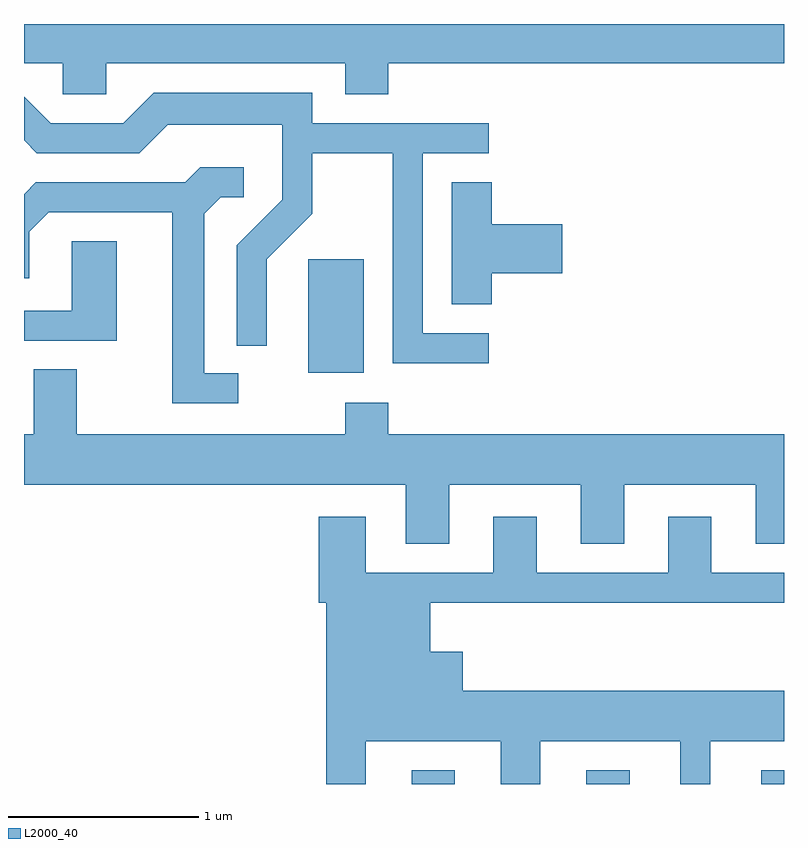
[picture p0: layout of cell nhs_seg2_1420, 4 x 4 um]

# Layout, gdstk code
import gdstk
lib = gdstk.Library(unit=1e-6, precision=1e-09)
def R(c, l, rs):  # rectangles x0, y0, x1, y1
    for r in rs: c.add(gdstk.rectangle(r[:2], r[2:], *l))
def P(c, l, *ps):  # polygons
    for p in ps: c.add(gdstk.Polygon(p, *l))
L2000_40 = (2000, 40)

nhs_seg2_1420 = lib.new_cell('nhs_seg2_1420')
R(nhs_seg2_1420, L2000_40, [(227.651,1097.802,227.879,1097.874), (228.571,1097.802,228.799,1097.874), (229.491,1097.802,229.611,1097.874), (227.106,1099.966,227.399,1100.564)])
P(nhs_seg2_1420, L2000_40, [(226.044,1101.596),(227.301,1101.596),(227.301,1101.431),(227.529,1101.431),(227.529,1101.596),(229.611,1101.596),(229.611,1101.802),(225.611,1101.802),(225.611,1101.596),(225.816,1101.596),(225.816,1101.431),(226.044,1101.431)],
  [(228.058,1100.174),(227.709,1100.174),(227.709,1101.121),(228.058,1101.121),(228.058,1101.279),(227.129,1101.279),(227.129,1101.439),(226.294,1101.439),(226.134,1101.279),(225.752,1101.279),(225.611,1101.42),(225.611,1101.189),(225.679,1101.121),(226.217,1101.121),(226.367,1101.271),(226.971,1101.271),(226.971,1100.877),(226.731,1100.637),(226.731,1100.108),(226.889,1100.108),(226.889,1100.564),(227.129,1100.804),(227.129,1101.121),(227.551,1101.121),(227.551,1100.016),(228.058,1100.016)],
  [(226.738,1099.964),(226.559,1099.964),(226.559,1100.804),(226.647,1100.891),(226.768,1100.891),(226.768,1101.049),(226.539,1101.049),(226.459,1100.969),(225.674,1100.969),(225.611,1100.906),(225.611,1100.463),(225.639,1100.463),(225.639,1100.709),(225.742,1100.811),(226.391,1100.811),(226.391,1099.806),(226.738,1099.806)],
  [(228.074,1100.491),(228.444,1100.491),(228.444,1100.749),(228.074,1100.749),(228.074,1100.969),(227.861,1100.969),(227.861,1100.326),(228.074,1100.326)],
  [(226.099,1100.659),(225.861,1100.659),(225.861,1100.294),(225.611,1100.294),(225.611,1100.136),(226.099,1100.136)],
  [(225.661,1099.984),(225.661,1099.644),(225.611,1099.644),(225.611,1099.376),(227.621,1099.376),(227.621,1099.066),(227.849,1099.066),(227.849,1099.376),(228.541,1099.376),(228.541,1099.066),(228.769,1099.066),(228.769,1099.376),(229.461,1099.376),(229.461,1099.066),(229.611,1099.066),(229.611,1099.644),(227.529,1099.644),(227.529,1099.809),(227.301,1099.809),(227.301,1099.644),(225.889,1099.644),(225.889,1099.984)],
  [(227.409,1098.026),(228.121,1098.026),(228.121,1097.802),(228.329,1097.802),(228.329,1098.026),(229.066,1098.026),(229.066,1097.802),(229.224,1097.802),(229.224,1098.026),(229.611,1098.026),(229.611,1098.294),(227.919,1098.294),(227.919,1098.499),(227.749,1098.499),(227.749,1098.756),(229.611,1098.756),(229.611,1098.914),(229.229,1098.914),(229.229,1099.209),(229.001,1099.209),(229.001,1098.914),(228.309,1098.914),(228.309,1099.209),(228.081,1099.209),(228.081,1098.914),(227.409,1098.914),(227.409,1099.209),(227.161,1099.209),(227.161,1098.756),(227.201,1098.756),(227.201,1097.802),(227.409,1097.802)])

lib.write_gds('nhs_seg2_1420.gds')
